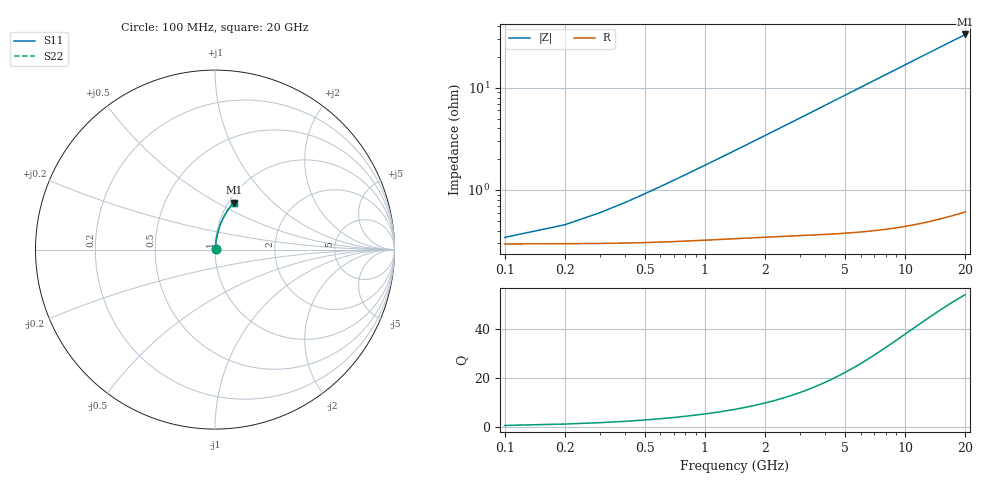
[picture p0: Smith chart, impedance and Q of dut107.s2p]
! Touchstone file exported from HFSS 2026.1.0
!  File:  C:/ffzhzh/LocalFiles/Ansys_Project_Files/temp_train_TMRDL_107_1782982388_45328.aedt
!  Generated:  04:54:21 PM Jul  2, 2026
!  Design:  TMRDL
!  Project:  temp_train_TMRDL_107_1782982388_45328
! Variables:
!  h_bsmrdl = 2um
!  h_ox = 20um
!  h_rdl = 5um
!  h_sub = 80um
!  h_tmrdl = 2.01um
!  h_tsv = 80um
!  h_via = 3um
!  l_bsmrdl = 300um
!  l_sub = 578.77um
!  l_tmrdl = 178.77um
!  m_sub = 200um
!  pitch = 59.18um
!  r_tsv = 6um
!  s_tmrdl = 10um
!  w_bsmrdl = 18um
!  w_sub = 500um
!  w_tmrdl = 11.81um
!  x_tsv_center1 = 184.675um
!  x_tsv_center2 = 502.675um
!  x_tsv_center3 = 693.255um
!  x_tsv_center4 = 1011.255um
!  x_tsv_center5 = 1201.835um
!  x_tsv_center6 = 1519.835um
# GHz S MA R 50.000000
! Terminal data exported
! Port[1] = TM_RDL1_1_T1
! Port[2] = TM_RDL1_1_T2
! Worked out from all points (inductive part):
!   200 points, 100 MHz to 20 GHz, reference 50 ohm
!   read as one part in series: L = 274 pH near 600 MHz
!   highest Q = 54.4 at 20 GHz (marker M1), where L = 265 pH
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0.1  0.003343 27.5  0.997 -0.1  0.997 -0.1  0.003343 27.5
! Gamma 0 0 0 0
! Port Impedance 50 0 50 0
0.3  0.005525 56.8  0.997 -0.3  0.997 -0.3  0.005525 56.8
0.4  0.00688 63.5  0.997 -0.4  0.997 -0.4  0.00688 63.5
0.5  0.008294 67.9  0.9969 -0.5  0.9969 -0.5  0.008294 67.9
0.6  0.00974 70.9  0.9969 -0.7  0.9969 -0.7  0.00974 70.9
0.7  0.0112 73.1  0.9968 -0.8  0.9968 -0.8  0.0112 73.1
0.9  0.01414 76.0  0.9967 -1.0  0.9967 -1.0  0.01414 76.0
1.2  0.01857 78.5  0.9966 -1.3  0.9966 -1.3  0.01857 78.5
1.4  0.02153 79.6  0.9964 -1.5  0.9964 -1.5  0.02153 79.6
1.7  0.02597 80.7  0.9963 -1.8  0.9963 -1.8  0.02597 80.7
2.2  0.03337 81.7  0.996 -2.4  0.996 -2.4  0.03337 81.7
2.8  0.04226 82.2  0.9956 -3.0  0.9956 -3.0  0.04226 82.2
3.5  0.05264 82.3  0.995 -3.7  0.995 -3.7  0.05264 82.3
4.2  0.063 82.2  0.9943 -4.5  0.9943 -4.5  0.063 82.2
5  0.07482 81.8  0.9934 -5.3  0.9934 -5.3  0.07482 81.8
5.9  0.08807 81.2  0.9923 -6.3  0.9923 -6.3  0.08807 81.2
6.8  0.1013 80.5  0.9909 -7.2  0.9909 -7.2  0.1013 80.5
8.3  0.1231 79.3  0.9883 -8.8  0.9883 -8.8  0.1231 79.3
10.1  0.1489 77.6  0.9845 -10.7  0.9845 -10.7  0.1489 77.6
13.4  0.1952 74.5  0.9759 -14.1  0.9759 -14.1  0.1952 74.5
16.7  0.2398 71.4  0.9655 -17.4  0.9655 -17.4  0.2398 71.4
20  0.2824 68.2  0.9535 -20.6  0.9535 -20.6  0.2824 68.2
